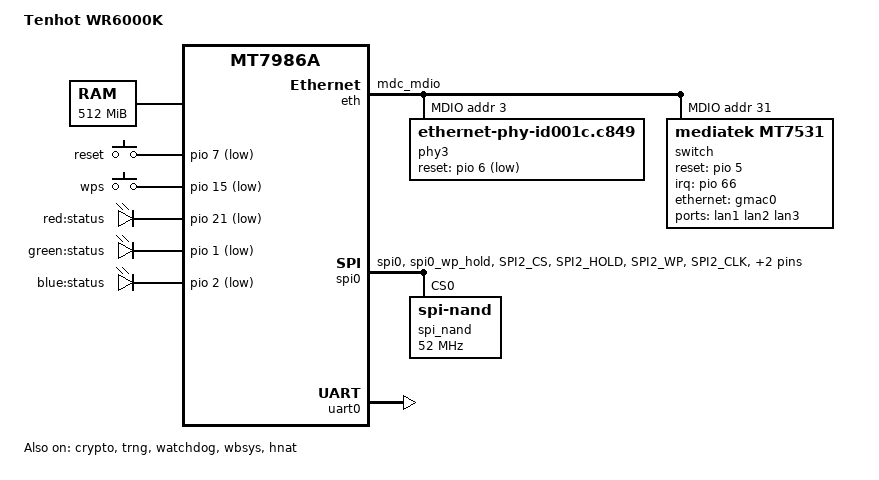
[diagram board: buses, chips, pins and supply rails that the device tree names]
// SPDX-License-Identifier: (GPL-2.0 OR MIT)

/dts-v1/;
#include <dt-bindings/gpio/gpio.h>
#include <dt-bindings/input/input.h>
#include <dt-bindings/leds/common.h>
#include <dt-bindings/pinctrl/mt65xx.h>

#include "mt7986a.dtsi"

/ {
	model = "Tenhot WR6000K";
	compatible = "tenhot,wr6000k", "mediatek,mt7986a";

	aliases {
		serial0 = &uart0;
		label-mac-device = &gmac1;
		led-boot = &led_status_blue;
		led-failsafe = &led_status_red;
		led-running = &led_status_green;
		led-upgrade = &led_status_blue;
	};

	chosen {
		stdout-path = "serial0:115200n8";
		bootargs = "console=ttyS0,115200n1";
	};

	memory@40000000 {
		device_type = "memory";
		reg = <0 0x40000000 0 0x20000000>;
	};

	keys {
		compatible = "gpio-keys";

		reset {
			label = "reset";
			linux,code = <KEY_RESTART>;
			gpios = <&pio 7 GPIO_ACTIVE_LOW>;
		};

		wps {
			label = "wps";
			linux,code = <KEY_WPS_BUTTON>;
			gpios = <&pio 15 GPIO_ACTIVE_LOW>;
		};
	};

	leds {
		compatible = "gpio-leds";

		led_status_red: status-red {
			label = "red:status";
			gpios = <&pio 21 GPIO_ACTIVE_LOW>;
		};

		led_status_green: status-green {
			label = "green:status";
			gpios = <&pio 1 GPIO_ACTIVE_LOW>;
		};

		led_status_blue: status-blue {
			label = "blue:status";
			gpios = <&pio 2 GPIO_ACTIVE_LOW>;
		};
	};

	nmbm_spim_nand {
		compatible = "generic,nmbm";
		#address-cells = <1>;
		#size-cells = <1>;
		lower-mtd-device = <&spi_nand>;
		forced-create;

		partitions {
			compatible = "fixed-partitions";
			#address-cells = <1>;
			#size-cells = <1>;

			partition@0 {
				label = "bl2";
				reg = <0x0000000 0x0100000>;
				read-only;
			};

			partition@100000 {
				label = "u-boot-env";
				reg = <0x0100000 0x0080000>;
			};

			factory: partition@180000 {
				label = "Factory";
				reg = <0x0180000 0x0200000>;
			};

			partition@380000 {
				label = "fip";
				reg = <0x0380000 0x0200000>;
				read-only;
			};

			partition@580000 {
				label = "ubi";
				/* MTDPART_SIZ_FULL: all remaining NMBM logical space. */
				reg = <0x580000 0>;
			};
		};
	};
};

&crypto {
	status = "okay";
};

&eth {
	pinctrl-names = "default";
	pinctrl-0 = <&mdio_pins>;
	status = "okay";

	gmac0: mac@0 {
		compatible = "mediatek,eth-mac";
		reg = <0>;
		phy-mode = "2500base-x";


		fixed-link {
			speed = <2500>;
			full-duplex;
			pause;
		};
	};

	gmac1: mac@1 {
		compatible = "mediatek,eth-mac";
		reg = <1>;
		phy-handle = <&phy3>;
		phy-mode = "2500base-x";

	};

	mdio: mdio-bus {
		#address-cells = <1>;
		#size-cells = <0>;
	};
};

&mdio {
	phy3: ethernet-phy@3 {
		compatible = "ethernet-phy-id001c.c849",
			     "ethernet-phy-ieee802.3-c22";
		reg = <3>;
		reset-gpios = <&pio 6 GPIO_ACTIVE_LOW>;
		reset-assert-us = <100000>;
		reset-deassert-us = <100000>;
	};

	switch: switch@1f {
		compatible = "mediatek,mt7531";
		reg = <31>;
		reset-gpios = <&pio 5 GPIO_ACTIVE_HIGH>;
		interrupt-controller;
		#interrupt-cells = <1>;
		interrupt-parent = <&pio>;
		interrupts = <66 IRQ_TYPE_LEVEL_HIGH>;
	};
};

&pio {
	mdio_pins: mdio-pins {
		mux {
			function = "eth";
			groups = "mdc_mdio";
		};
	};

	spi_flash_pins: spi-flash-pins-33-to-38 {
		mux {
			function = "flash";
			groups = "spi0", "spi0_wp_hold";
		};

		conf-pu {
			pins = "SPI2_CS", "SPI2_HOLD", "SPI2_WP";
			drive-strength = <MTK_DRIVE_8mA>;
			bias-disable;
		};

		conf-pd {
			pins = "SPI2_CLK", "SPI2_MOSI", "SPI2_MISO";
			drive-strength = <MTK_DRIVE_8mA>;
			bias-disable;
		};
	};

	wf_2g_5g_pins: wf-2g-5g-pins {
		mux {
			function = "wifi";
			groups = "wf_2g", "wf_5g";
		};

		conf {
			pins = "WF0_HB1", "WF0_HB2", "WF0_HB3", "WF0_HB4",
			       "WF0_HB0", "WF0_HB0_B", "WF0_HB5", "WF0_HB6",
			       "WF0_HB7", "WF0_HB8", "WF0_HB9", "WF0_HB10",
			       "WF0_TOP_CLK", "WF0_TOP_DATA", "WF1_HB1",
			       "WF1_HB2", "WF1_HB3", "WF1_HB4", "WF1_HB0",
			       "WF1_HB5", "WF1_HB6", "WF1_HB7", "WF1_HB8",
			       "WF1_TOP_CLK", "WF1_TOP_DATA";
			drive-strength = <MTK_DRIVE_4mA>;
		};
	};

	wf_dbdc_pins: wf-dbdc-pins {
		mux {
			function = "wifi";
			groups = "wf_dbdc";
		};

		conf {
			pins = "WF0_HB1", "WF0_HB2", "WF0_HB3", "WF0_HB4",
			       "WF0_HB0", "WF0_HB0_B", "WF0_HB5", "WF0_HB6",
			       "WF0_HB7", "WF0_HB8", "WF0_HB9", "WF0_HB10",
			       "WF0_TOP_CLK", "WF0_TOP_DATA", "WF1_HB1",
			       "WF1_HB2", "WF1_HB3", "WF1_HB4", "WF1_HB0",
			       "WF1_HB5", "WF1_HB6", "WF1_HB7", "WF1_HB8",
			       "WF1_TOP_CLK", "WF1_TOP_DATA";
			drive-strength = <MTK_DRIVE_4mA>;
		};
	};
};

&spi0 {
	#address-cells = <1>;
	#size-cells = <0>;
	pinctrl-names = "default";
	pinctrl-0 = <&spi_flash_pins>;
	status = "okay";

	spi_nand: flash@0 {
		compatible = "spi-nand";
		reg = <0>;
		spi-max-frequency = <52000000>;
		spi-tx-bus-width = <4>;
		spi-rx-bus-width = <4>;

	};
};

&switch {
	ports {
		#address-cells = <1>;
		#size-cells = <0>;

		port@4 {
			reg = <4>;
			label = "lan1";
		};

		port@3 {
			reg = <3>;
			label = "lan2";
		};

		port@2 {
			reg = <2>;
			label = "lan3";
		};

		port@6 {
			reg = <6>;
			ethernet = <&gmac0>;
			phy-mode = "2500base-x";
			fixed-link {
				speed = <2500>;
				full-duplex;
				pause;
			};
		};
	};
};

&trng {
	status = "okay";
};

&uart0 {
	status = "okay";
};

&watchdog {
	status = "okay";
};

&wbsys {
	mediatek,mtd-eeprom = <&factory 0>;
	status = "okay";
	pinctrl-names = "default", "dbdc";
	pinctrl-0 = <&wf_2g_5g_pins>;
	pinctrl-1 = <&wf_dbdc_pins>;
};

&hnat {
	mtketh-wan = "eth1";
	mtketh-lan = "lan";
	mtketh-max-gmac = <2>;
	status = "okay";
};
